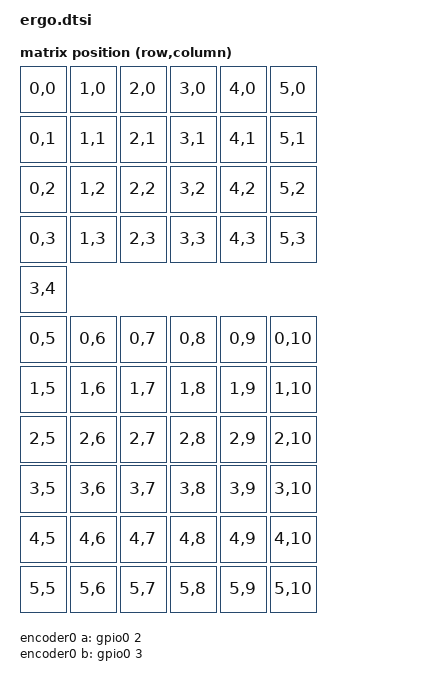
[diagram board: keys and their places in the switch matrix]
/*
 * Shared definitions for both halves of the Ergo split.
 *
 * Combined matrix transform for the whole keyboard:
 *   - Left half  -> logical columns 0..4  (peripheral, col-offset 0)
 *   - Right half -> logical columns 5..10 (central,   col-offset 5)
 *
 * The left part of the map below is column-major (one visual row per
 * matrix column) exactly as the original left half was wired. The right
 * part is row-major. Each half keeps its own electrical layout; the
 * col-offset is what stitches them into one logical keymap.
 */

#include <dt-bindings/zmk/matrix_transform.h>

&pinctrl {
    i2c0_default: i2c0_default {
        group1 {
            psels = <NRF_PSEL(TWIM_SDA, 0, 4)>,
                    <NRF_PSEL(TWIM_SCL, 0, 5)>;
        };
    };

    i2c0_sleep: i2c0_sleep {
        group1 {
            psels = <NRF_PSEL(TWIM_SDA, 0, 4)>,
                    <NRF_PSEL(TWIM_SCL, 0, 5)>;
            low-power-enable;
        };
    };
};

&i2c0 {
    status = "okay";
    clock-frequency = <I2C_BITRATE_FAST>; /* CRITICAL: prevents severe input lag */
    pinctrl-0 = <&i2c0_default>;
    pinctrl-1 = <&i2c0_sleep>;
    pinctrl-names = "default", "sleep";
};

/ {
    chosen {
        zmk,matrix-transform = &default_transform;
    };

    default_transform: keymap_transform_0 {
        compatible = "zmk,matrix-transform";
        columns = <11>;
        rows = <6>;
        map = <
            /* ---- LEFT half: logical columns 0..4 (column-major) ---- */
            RC(0,0) RC(1,0) RC(2,0) RC(3,0) RC(4,0) RC(5,0)
            RC(0,1) RC(1,1) RC(2,1) RC(3,1) RC(4,1) RC(5,1)
            RC(0,2) RC(1,2) RC(2,2) RC(3,2) RC(4,2) RC(5,2)
            RC(0,3) RC(1,3) RC(2,3) RC(3,3) RC(4,3) RC(5,3)
            RC(3,4)

            /* ---- RIGHT half: logical columns 5..10 (row-major) ---- */
            RC(0,5) RC(0,6) RC(0,7) RC(0,8) RC(0,9) RC(0,10)
            RC(1,5) RC(1,6) RC(1,7) RC(1,8) RC(1,9) RC(1,10)
            RC(2,5) RC(2,6) RC(2,7) RC(2,8) RC(2,9) RC(2,10)
            RC(3,5) RC(3,6) RC(3,7) RC(3,8) RC(3,9) RC(3,10)
            RC(4,5) RC(4,6) RC(4,7) RC(4,8) RC(4,9) RC(4,10)
            RC(5,5) RC(5,6) RC(5,7) RC(5,8) RC(5,9) RC(5,10)
        >;
    };

    /*
     * Encoder lives physically on the LEFT (peripheral) at gpio0 2/3.
     * It is defined here in the shared .dtsi so the RIGHT (central) build
     * also has an *enabled* EC11 node - without one, ZMK forces the EC11
     * trigger thread off on the central and no encoder events are processed.
     * On the right these pins (D0/D1) are otherwise unused.
     */
    encoder0: encoder_0 {
        compatible = "alps,ec11";
        a-gpios = <&gpio0 2 (GPIO_ACTIVE_HIGH | GPIO_PULL_UP)>;
        b-gpios = <&gpio0 3 (GPIO_ACTIVE_HIGH | GPIO_PULL_UP)>;
        steps = <80>;
        status = "okay";
    };

    sensors {
        compatible = "zmk,keymap-sensors";
        sensors = <&encoder0>;
        triggers-per-rotation = <20>;
    };
};
